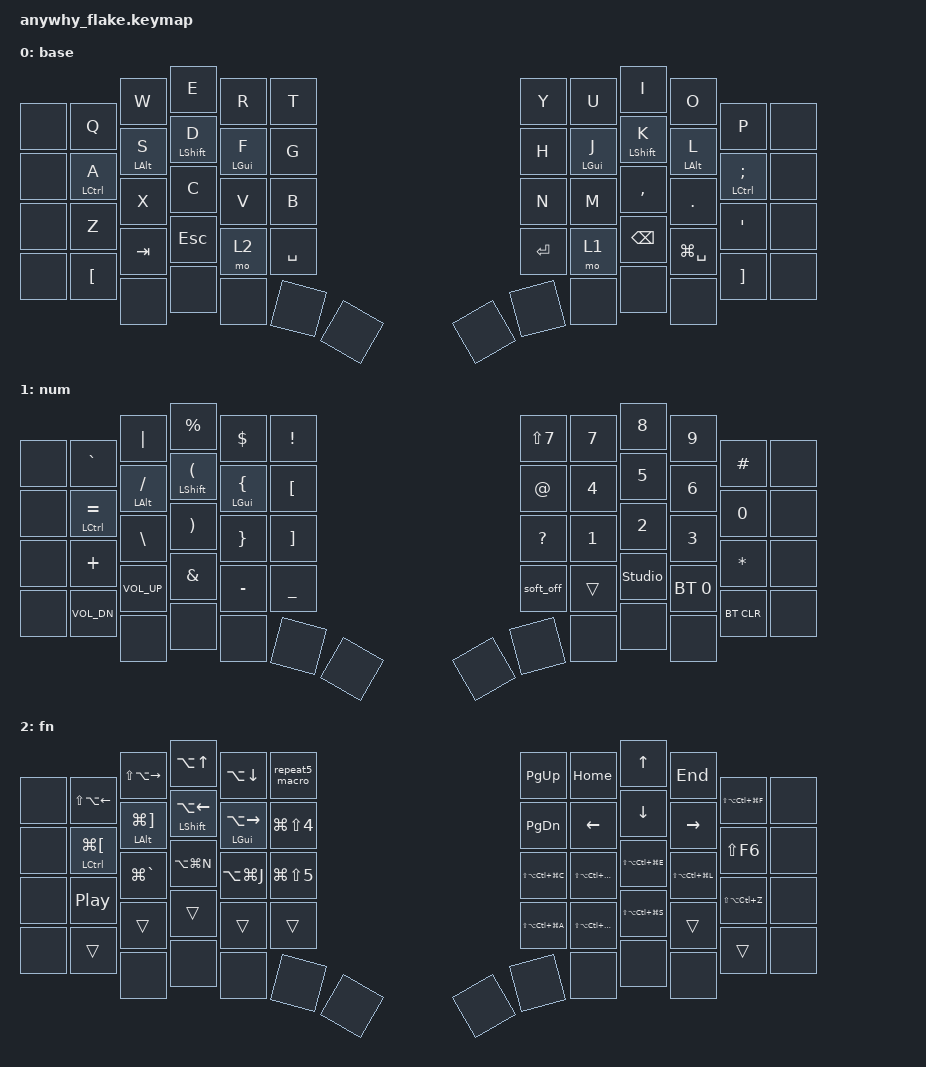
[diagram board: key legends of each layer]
#include <behaviors.dtsi>
#include <dt-bindings/zmk/bt.h>
#include <dt-bindings/zmk/keys.h>

/ {
    combos {
        compatible = "zmk,combos";

        bt_sel_3 {
            bindings = <&bt3>;
            key-positions = <42 30>;
            layers = <2>;
        };

        bt_sel_4 {
            bindings = <&bt4>;
            key-positions = <30 18>;
            layers = <2>;
        };
    };

    macros {
        lm: lm {
            compatible = "zmk,behavior-macro-two-param";
            wait-ms = <0>;
            tap-ms = <0>;
            #binding-cells = <2>;
            bindings =
                <&macro_param_1to1>,
                <&macro_press>,
                <&mo MACRO_PLACEHOLDER &macro_param_2to1>,
                <&macro_press>,
                <&kp MACRO_PLACEHOLDER>,
                <&macro_pause_for_release>,
                <&macro_param_2to1>,
                <&macro_release>,
                <&kp MACRO_PLACEHOLDER &macro_param_1to1>,
                <&macro_release>,
                <&mo MACRO_PLACEHOLDER>;
        };

        repeat5_macro: repeat5_macro {
            compatible = "zmk,behavior-macro";
            #binding-cells = <0>;
            bindings = <&key_repeat &key_repeat &key_repeat &key_repeat &key_repeat>;
            label = "REPEAT5_MACRO";
        };

        bt_clr_0: bt_clr_0 {
            compatible = "zmk,behavior-macro";
            #binding-cells = <0>;
            bindings = <&bt BT_SEL 0 &bt BT_CLR>;
            label = "BT_CLR_0";
        };

        bt_clr_1: bt_clr_1 {
            compatible = "zmk,behavior-macro";
            #binding-cells = <0>;
            bindings = <&bt BT_SEL 1 &bt BT_CLR>;
            label = "BT_CLR_1";
        };

        bt_clr_2: bt_clr_2 {
            compatible = "zmk,behavior-macro";
            #binding-cells = <0>;
            bindings = <&bt BT_SEL 2 &bt BT_CLR>;
            label = "BT_CLR_2";
        };

        bt_clr_3: bt_clr_3 {
            compatible = "zmk,behavior-macro";
            #binding-cells = <0>;
            bindings = <&bt BT_SEL 3 &bt BT_CLR>;
            label = "BT_CLR_3";
        };

        bt_clr_4: bt_clr_4 {
            compatible = "zmk,behavior-macro";
            #binding-cells = <0>;
            bindings = <&bt BT_SEL 4 &bt BT_CLR>;
            label = "BT_CLR_4";
        };
    };

    behaviors {
        hmr: hmr {
            compatible = "zmk,behavior-hold-tap";
            label = "HMR";
            bindings = <&kp>, <&kp>;

            #binding-cells = <2>;
            tapping-term-ms = <280>;
            quick-tap-ms = <175>;
            flavor = "balanced";
            hold-trigger-on-release;
            hold-trigger-key-positions = <0 1 2 3 4 5 12 13 14 15 16 17 24 25 26 27 28 29 36 37 38 39 40 41 42 50 51 52 53 54 55 56 57 58 59 43>;
        };

        hml: hml {
            compatible = "zmk,behavior-hold-tap";
            label = "HML";
            bindings = <&kp>, <&kp>;

            #binding-cells = <2>;
            tapping-term-ms = <280>;
            quick-tap-ms = <175>;
            flavor = "balanced";
            hold-trigger-on-release;
            hold-trigger-key-positions = <6 7 8 9 10 11 18 19 20 21 22 23 30 31 32 33 34 35 44 45 46 47 48 49 55 56 57 58 59 43 42 50 51 52 53 54>;
        };

        bt0: bt0 {
            compatible = "zmk,behavior-mod-morph";
            label = "BT0";
            bindings = <&bt BT_SEL 0>, <&bt_clr_0>;

            #binding-cells = <0>;
            mods = <(MOD_LSFT|MOD_LGUI)>;
        };

        bt1: bt1 {
            compatible = "zmk,behavior-mod-morph";
            label = "BT1";
            bindings = <&bt BT_SEL 1>, <&bt_clr_1>;

            #binding-cells = <0>;
            mods = <(MOD_LSFT|MOD_LGUI)>;
        };

        bt2: bt2 {
            compatible = "zmk,behavior-mod-morph";
            label = "BT2";
            bindings = <&bt BT_SEL 2>, <&bt_clr_2>;

            #binding-cells = <0>;
            mods = <(MOD_LSFT|MOD_LGUI)>;
        };

        bt3: bt3 {
            compatible = "zmk,behavior-mod-morph";
            label = "BT3";
            bindings = <&bt BT_SEL 3>, <&bt_clr_3>;

            #binding-cells = <0>;
            mods = <(MOD_LSFT|MOD_LGUI)>;
        };

        bt4: bt4 {
            compatible = "zmk,behavior-mod-morph";
            label = "BT4";
            bindings = <&bt BT_SEL 4>, <&bt_clr_4>;

            #binding-cells = <0>;
            mods = <(MOD_LSFT|MOD_LGUI)>;
        };
    };

    keymap {
        compatible = "zmk,keymap";

        base {
            bindings = <
&none    &kp Q              &kp W             &kp E              &kp R            &kp T                            &kp Y      &kp U           &kp I              &kp O            &kp P             &none
&none    &hml LCTRL A       &hml LEFT_ALT S   &hml LEFT_SHIFT D  &hml LGUI F      &kp G                            &kp H      &hmr LGUI J     &hmr LEFT_SHIFT K  &hmr LEFT_ALT L  &hmr LCTRL SEMI   &none
&none    &kp Z              &kp X             &kp C              &kp V            &kp B                            &kp N      &kp M           &kp COMMA          &kp DOT          &kp SQT           &none
&none    &kp LEFT_BRACKET   &kp TAB           &kp ESCAPE         &mo 2            &kp SPACE                        &kp ENTER  &mo 1           &kp BACKSPACE      &kp LG(SPACE)    &kp RIGHT_BRACKET  &none
         &none              &none             &none              &none            &none                            &none      &none           &none              &none            &none                   
            >;
        };

        num {
            bindings = <
&none    &kp GRAVE         &kp PIPE             &kp PERCENT                  &kp DOLLAR            &kp EXCLAMATION                                 &kp LS(N7)    &kp N7       &kp N8          &kp N9        &kp POUND     &none
&none    &hml LCTRL EQUAL  &hml LEFT_ALT SLASH  &hml LSHFT LEFT_PARENTHESIS  &hml LGUI LEFT_BRACE  &kp LEFT_BRACKET                                &kp AT_SIGN   &kp N4       &kp N5          &kp N6        &kp N0        &none
&none    &kp PLUS          &kp BACKSLASH        &kp RIGHT_PARENTHESIS        &kp RIGHT_BRACE       &kp RIGHT_BRACKET                               &kp QUESTION  &kp N1       &kp N2          &kp N3        &kp ASTERISK  &none
&none    &kp C_VOL_DN      &kp C_VOL_UP         &kp AMPERSAND                &kp MINUS             &kp UNDERSCORE                                  &soft_off     &trans       &studio_unlock  &bt BT_SEL 0  &bt BT_CLR    &none     
         &none             &none                &none                        &none                 &none                                           &none         &none        &none           &none         &none           
            >;
        };

        fn {
            bindings = <
&none  &kp LS(LA(LEFT_ARROW))       &kp LS(LA(RIGHT_ARROW))      &kp LA(UP_ARROW)            &kp LA(DOWN_ARROW)         &repeat5_macro                      &kp PAGE_UP            &kp HOME               &kp UP                 &kp END                &kp LS(LA(LC(LG(F)))) &none
&none  &hml LCTRL LG(LEFT_BRACKET)  &hml LALT LG(RIGHT_BRACKET)  &hml LSHIFT LA(LEFT_ARROW)  &hml LGUI LA(RIGHT_ARROW)  &kp LG(LS(N4))                      &kp PG_DN              &kp LEFT               &kp DOWN               &kp RIGHT              &kp LS(F6)            &none
&none  &kp C_PP                     &kp LG(GRAVE)                &kp LA(LG(N))               &kp LA(LG(J))              &kp LG(LS(N5))                      &kp LS(LA(LC(LG(C))))  &kp LS(LA(LC(LG(M))))  &kp LS(LA(LC(LG(E))))  &kp LS(LA(LC(LG(L))))  &kp LS(LA(LC(Z)))     &none
&none  &trans                       &trans                       &trans                      &trans                     &trans                              &kp LS(LA(LC(LG(A))))  &kp LS(LA(LC(LG(W))))  &kp LS(LA(LC(LG(S))))  &trans                 &trans                &none     
       &none                        &none                        &none                       &none                      &none                               &none                  &none                  &none                  &none                  &none             
            >;
        };
    };
};
